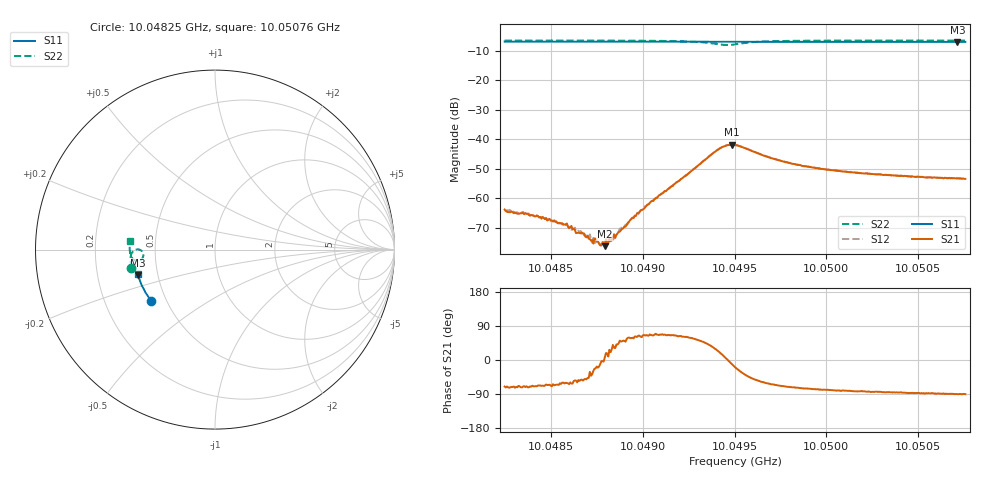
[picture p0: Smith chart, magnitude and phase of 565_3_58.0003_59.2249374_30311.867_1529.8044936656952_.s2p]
#  HZ  S  RI  R  50.00
! Rohde & Schwarz Vector Network Analyzer
! Rohde-Schwarz,ZNB20-2Port,1311601062101988,3.16
! Created: UTC 3/21/2024, 1:15:41 AM
! freq[Hz]  re:S11  im:S11  re:S21  im:S21  re:S12  im:S12  re:S22  im:S22
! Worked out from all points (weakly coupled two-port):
!   401 points, 10.04825 GHz to 10.05076 GHz, reference 50 ohm
!   highest |S21| = -41.87 dB at 10.04948 GHz (marker M1); lowest = -76.3 dB at 10.04879 GHz (marker M2)
!   lowest |S11| = -6.9 dB at 10.05072 GHz (marker M3), VSWR 2.65, Z = 19.3 - j6.85 ohm
!   |S11| at or under -10 dB: nowhere
!   |S22| runs from -8.0 to -6.4 dB; largest |S21 - S12| = 0.00058
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1.0048245e10  -0.3567 -0.2851  0.000217 -0.000601  0.000232 -0.000548  -0.4662 -0.1028
1.0048459e10  -0.3649 -0.2735  0.000168 -0.000427  0.000202 -0.000432  -0.4688 -0.0875
1.0048572e10  -0.3693 -0.2673  0.000168 -0.000314  0.00018 -0.000298  -0.4697 -0.0792
1.0048647e10  -0.372 -0.2632  0.000156 -0.000206  0.000181 -0.000213  -0.4704 -0.0732
1.0048666e10  -0.3728 -0.2623  0.000161 -0.000205  0.000165 -0.000171  -0.4706 -0.0718
1.0048717e10  -0.3746 -0.2595  0.000141 -0.000126  0.000153 -0.000137  -0.4707 -0.0679
1.0048748e10  -0.3758 -0.2579  0.000177 -5.49e-05  0.000176 -6.82e-05  -0.471 -0.0654
1.0048773e10  -0.3766 -0.2563  0.000157 -7.99e-06  0.000166 -1.78e-06  -0.471 -0.0633
1.0048792e10  -0.3773 -0.2553  0.000152 1.83e-05  0.000166 3.79e-05  -0.4711 -0.0617
1.0048817e10  -0.3781 -0.2539  0.000183 9.27e-05  0.000159 8.48e-05  -0.471 -0.0597
1.0048849e10  -0.3791 -0.2522  0.000179 0.000109  0.000178 0.00014  -0.4711 -0.0569
1.004888e10  -0.3803 -0.2503  0.000188 0.000214  0.000172 0.000251  -0.471 -0.054
1.0048981e10  -0.3838 -0.2447  0.00025 0.000519  0.000241 0.000519  -0.4708 -0.0447
1.0049087e10  -0.3873 -0.2385  0.000457 0.00102  0.000372 0.00103  -0.4687 -0.0334
1.0049402e10  -0.3967 -0.2202  0.00575 0.00291  0.00556 0.00329  -0.4162 -0.00214
1.0049484e10  -0.3989 -0.2159  0.00793 -0.00144  0.00803 -0.000904  -0.4008 -0.0416
1.0049502e10  -0.3994 -0.215  0.00755 -0.00257  0.00777 -0.00204  -0.406 -0.0508
1.0049729e10  -0.4065 -0.2018  0.00182 -0.00412  0.00208 -0.00405  -0.4643 -0.0434
1.0049924e10  -0.4118 -0.1902  0.000772 -0.00322  0.000968 -0.00321  -0.4728 -0.0206
1.0050345e10  -0.422 -0.1645  0.000228 -0.00245  0.00033 -0.00245  -0.4753 0.0153
1.0050716e10  -0.4296 -0.1413  1.75e-06 -0.00216  0.000131 -0.00215  -0.474 0.0425
1.005076e10  -0.4305 -0.1386  -7.23e-06 -0.00213  0.000101 -0.00215  -0.4736 0.0456
